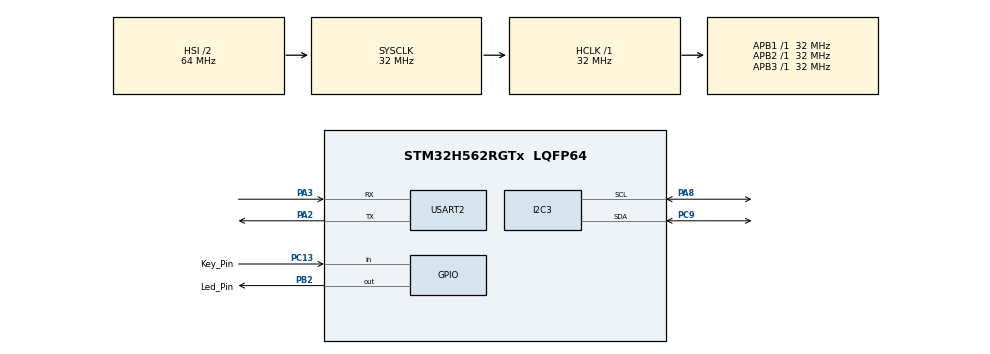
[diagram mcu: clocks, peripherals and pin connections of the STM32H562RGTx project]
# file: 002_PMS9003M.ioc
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BOOTPATH.BootPathName=LEGACY
BOOTPATH.UserSelectedBootPath=LEGACY
CORTEX_M33_NS.userName=CORTEX_M33
I2C3.Timing=0x00707CBB
Mcu.Family=STM32H5
Mcu.Name=STM32H562RGTx
Mcu.Package=LQFP64
NVIC.PriorityGroup=NVIC_PRIORITYGROUP_4
NVIC.USART2_IRQn=true\:0\:0\:false\:false\:true\:true\:true\:true
PA2.Mode=Asynchronous
PA2.Signal=USART2_TX
PA3.Mode=Asynchronous
PA3.Signal=USART2_RX
PA8.Mode=I2C
PA8.Signal=I2C3_SCL
PB2.GPIO_Label=Led_Pin
PB2.Signal=GPIO_Output
PC13.GPIO_Label=Key_Pin
PC13.Signal=GPIO_Input
PC8.GPIO_Label=SD_Detect_Pin
PC8.Signal=SDMMC1_D0
PC9.Mode=I2C
PC9.Signal=I2C3_SDA
ProjectManager.HeapSize=0x200
ProjectManager.StackSize=0x400
ProjectManager.TargetToolchain=STM32CubeIDE
RCC.ADCFreq_Value=32000000
RCC.AHBFreq_Value=32000000
RCC.APB1Freq_Value=32000000
RCC.APB1TimFreq_Value=32000000
RCC.APB2Freq_Value=32000000
RCC.APB2TimFreq_Value=32000000
RCC.APB3Freq_Value=32000000
RCC.CSI_VALUE=4000000
RCC.CortexFreq_Value=32000000
RCC.EPOD_VALUE=4000000
RCC.HCLKFreq_Value=32000000
RCC.HSE_VALUE=25000000
RCC.HSI48_VALUE=48000000
RCC.HSI_VALUE=64000000
RCC.LSE_VALUE=32768
RCC.LSIRC_VALUE=32000
RCC.SYSCLKFreq_VALUE=32000000
RCC.USBFreq_Value=48000000
RCC.VCOOutputFreq_Value=516000000
USART2.VirtualMode-Asynchronous=VM_ASYNC
VP_BOOTPATH_VS_BOOTPATH.Mode=BP_Activate
VP_CORTEX_M33_NS_VS_Hclk.Mode=Hclk_Mode
VP_ICACHE_VS_ICACHE.Mode=DirectMappedCache
VP_MEMORYMAP_VS_MEMORYMAP.Mode=CurAppReg
VP_PWR_VS_LPOM.Mode=PowerOptimisation
VP_PWR_VS_SECSignals.Mode=Security/Privilege
board=custom

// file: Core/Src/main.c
/* USER CODE BEGIN Header */
/**
 ******************************************************************************
 * @file           : main.c
 * @brief          : Main program body
 ******************************************************************************
 * @attention
 *
 * Copyright (c) 2025 STMicroelectronics.
 * All rights reserved.
 *
 * This software is licensed under terms that can be found in the LICENSE file
 * in the root directory of this software component.
 * If no LICENSE file comes with this software, it is provided AS-IS.
 *
 ******************************************************************************
 */
/* USER CODE END Header */
#include "main.h"

/* USER CODE BEGIN Includes */
#include "dfrobot_air_quality_sensor.h"
#include <stdio.h>
#include <string.h>
/* USER CODE END Includes */

I2C_HandleTypeDef hi2c3;

UART_HandleTypeDef huart2;

/* USER CODE BEGIN PV */
DFRobot_AirQualitySensor_t air_sensor;
/* USER CODE END PV */

void SystemClock_Config(void);
static void MX_GPIO_Init(void);
static void MX_I2C3_Init(void);
static void MX_ICACHE_Init(void);
static void MX_USART2_UART_Init(void);
/* USER CODE BEGIN PFP */

void air_sensor_power_test(void);
void UART_Send(uint8_t *data, uint16_t length)
{
	HAL_UART_Transmit(&huart2, data, length, HAL_MAX_DELAY);
}

void UART_SendString(char *str)
{
	HAL_UART_Transmit(&huart2, (uint8_t *)str, strlen(str), HAL_MAX_DELAY);
}
/* USER CODE END PFP */

int main(void)
{

	/* MCU Configuration--------------------------------------------------------*/

	/* Reset of all peripherals, Initializes the Flash interface and the Systick. */
	HAL_Init();

	/* Configure the system clock */
	SystemClock_Config();

	/* Initialize all configured peripherals */
	MX_GPIO_Init();
	MX_I2C3_Init();
	MX_ICACHE_Init();
	MX_USART2_UART_Init();
	/* USER CODE BEGIN 2 */

	if (!DFRobot_AirSensor_Init(&air_sensor, &hi2c3,
								DFROBOT_AIR_SENSOR_DEFAULT_ADDR))
	{
		UART_SendString("failed to initialize the sensor\r\n");
		return 1;
	}

	if (!DFRobot_AirSensor_Begin(&air_sensor))
	{
		UART_SendString("failed to communicate with air quality sensor\r\n");
		return 1;
	}

	air_sensor_power_test();

	// get firmware version
	uint8_t version = DFRobot_AirSensor_GetVersion(&air_sensor);
	char version_buffer[50];
	sprintf(version_buffer, "Sensor firmware version: %d\r\n", version);
	UART_SendString(version_buffer);

	/* USER CODE END 2 */

	/* Infinite loop */
	/* USER CODE BEGIN WHILE */
	while (1)
	{
		UART_SendString("\r\n=== Air Quality Measurements ===\r\n");

		// read PM concentrations (µg/m³)
		uint16_t pm1_0_std = DFRobot_AirSensor_GetParticleConcentration_ugm3(
			&air_sensor, PARTICLE_PM1_0_STANDARD);
		uint16_t pm2_5_std = DFRobot_AirSensor_GetParticleConcentration_ugm3(
			&air_sensor, PARTICLE_PM2_5_STANDARD);
		uint16_t pm10_std = DFRobot_AirSensor_GetParticleConcentration_ugm3(
			&air_sensor, PARTICLE_PM10_STANDARD);

		uint16_t pm1_0_atm = DFRobot_AirSensor_GetParticleConcentration_ugm3(
			&air_sensor, PARTICLE_PM1_0_ATMOSPHERE);
		uint16_t pm2_5_atm = DFRobot_AirSensor_GetParticleConcentration_ugm3(
			&air_sensor, PARTICLE_PM2_5_ATMOSPHERE);
		uint16_t pm10_atm = DFRobot_AirSensor_GetParticleConcentration_ugm3(
			&air_sensor, PARTICLE_PM10_ATMOSPHERE);

		UART_SendString("PM Concentrations (µg/m³):\r\n");
		UART_SendString("  Standard conditions:\r\n");

		char pm_buffer[80];
		sprintf(pm_buffer, "    PM1.0: %d µg/m³\r\n", pm1_0_std);
		UART_SendString(pm_buffer);

		sprintf(pm_buffer, "    PM2.5: %d µg/m³\r\n", pm2_5_std);
		UART_SendString(pm_buffer);

		sprintf(pm_buffer, "    PM10:  %d µg/m³\r\n", pm10_std);
		UART_SendString(pm_buffer);

		UART_SendString("  Atmospheric conditions:\r\n");

		sprintf(pm_buffer, "    PM1.0: %d µg/m³\r\n", pm1_0_atm);
		UART_SendString(pm_buffer);

		sprintf(pm_buffer, "    PM2.5: %d µg/m³\r\n", pm2_5_atm);
		UART_SendString(pm_buffer);

		sprintf(pm_buffer, "    PM10:  %d µg/m³\r\n", pm10_atm);
		UART_SendString(pm_buffer);

		// read particle counts (per 0.1L air)
		uint16_t count_0_3 = DFRobot_AirSensor_GetParticleNum_Every0_1L(
			&air_sensor, PARTICLENUM_0_3_UM_EVERY0_1L_AIR);
		uint16_t count_0_5 = DFRobot_AirSensor_GetParticleNum_Every0_1L(
			&air_sensor, PARTICLENUM_0_5_UM_EVERY0_1L_AIR);
		uint16_t count_1_0 = DFRobot_AirSensor_GetParticleNum_Every0_1L(
			&air_sensor, PARTICLENUM_1_0_UM_EVERY0_1L_AIR);
		uint16_t count_2_5 = DFRobot_AirSensor_GetParticleNum_Every0_1L(
			&air_sensor, PARTICLENUM_2_5_UM_EVERY0_1L_AIR);
		uint16_t count_5_0 = DFRobot_AirSensor_GetParticleNum_Every0_1L(
			&air_sensor, PARTICLENUM_5_0_UM_EVERY0_1L_AIR);
		uint16_t count_10 = DFRobot_AirSensor_GetParticleNum_Every0_1L(
			&air_sensor, PARTICLENUM_10_UM_EVERY0_1L_AIR);

		UART_SendString("\r\nParticle Counts (per 0.1L air):\r\n");

		char count_buffer[80];
		sprintf(count_buffer, "  ≥0.3µm: %d particles\r\n", count_0_3);
		UART_SendString(count_buffer);

		sprintf(count_buffer, "  ≥0.5µm: %d particles\r\n", count_0_5);
		UART_SendString(count_buffer);

		sprintf(count_buffer, "  ≥1.0µm: %d particles\r\n", count_1_0);
		UART_SendString(count_buffer);

		sprintf(count_buffer, "  ≥2.5µm: %d particles\r\n", count_2_5);
		UART_SendString(count_buffer);

		sprintf(count_buffer, "  ≥5.0µm: %d particles\r\n", count_5_0);
		UART_SendString(count_buffer);

		sprintf(count_buffer, "  ≥10µm:  %d particles\r\n", count_10);
		UART_SendString(count_buffer);

		// delay 5seconds
		HAL_Delay(5000);
		/* USER CODE END WHILE */

	}
}

void SystemClock_Config(void)
{
	RCC_OscInitTypeDef RCC_OscInitStruct = {0};
	RCC_ClkInitTypeDef RCC_ClkInitStruct = {0};

	/** Configure the main internal regulator output voltage
	 */
	__HAL_PWR_VOLTAGESCALING_CONFIG(PWR_REGULATOR_VOLTAGE_SCALE3);

	while (!__HAL_PWR_GET_FLAG(PWR_FLAG_VOSRDY))
	{
	}

	/** Initializes the RCC Oscillators according to the specified parameters
	 * in the RCC_OscInitTypeDef structure.
	 */
	RCC_OscInitStruct.OscillatorType = RCC_OSCILLATORTYPE_HSI;
	RCC_OscInitStruct.HSIState = RCC_HSI_ON;
	RCC_OscInitStruct.HSIDiv = RCC_HSI_DIV2;
	RCC_OscInitStruct.HSICalibrationValue = RCC_HSICALIBRATION_DEFAULT;
	RCC_OscInitStruct.PLL.PLLState = RCC_PLL_NONE;
	if (HAL_RCC_OscConfig(&RCC_OscInitStruct) != HAL_OK)
	{
		Error_Handler();
	}

	/** Initializes the CPU, AHB and APB buses clocks
	 */
	RCC_ClkInitStruct.ClockType = RCC_CLOCKTYPE_HCLK | RCC_CLOCKTYPE_SYSCLK | RCC_CLOCKTYPE_PCLK1 | RCC_CLOCKTYPE_PCLK2 | RCC_CLOCKTYPE_PCLK3;
	RCC_ClkInitStruct.SYSCLKSource = RCC_SYSCLKSOURCE_HSI;
	RCC_ClkInitStruct.AHBCLKDivider = RCC_SYSCLK_DIV1;
	RCC_ClkInitStruct.APB1CLKDivider = RCC_HCLK_DIV1;
	RCC_ClkInitStruct.APB2CLKDivider = RCC_HCLK_DIV1;
	RCC_ClkInitStruct.APB3CLKDivider = RCC_HCLK_DIV1;

	if (HAL_RCC_ClockConfig(&RCC_ClkInitStruct, FLASH_LATENCY_1) != HAL_OK)
	{
		Error_Handler();
	}

	/** Configure the programming delay
	 */
	__HAL_FLASH_SET_PROGRAM_DELAY(FLASH_PROGRAMMING_DELAY_0);
}

static void MX_I2C3_Init(void)
{

	hi2c3.Instance = I2C3;
	hi2c3.Init.Timing = 0x00707CBB;
	hi2c3.Init.OwnAddress1 = 0;
	hi2c3.Init.AddressingMode = I2C_ADDRESSINGMODE_7BIT;
	hi2c3.Init.DualAddressMode = I2C_DUALADDRESS_DISABLE;
	hi2c3.Init.OwnAddress2 = 0;
	hi2c3.Init.OwnAddress2Masks = I2C_OA2_NOMASK;
	hi2c3.Init.GeneralCallMode = I2C_GENERALCALL_DISABLE;
	hi2c3.Init.NoStretchMode = I2C_NOSTRETCH_DISABLE;
	if (HAL_I2C_Init(&hi2c3) != HAL_OK)
	{
		Error_Handler();
	}

	/** Configure Analogue filter
	 */
	if (HAL_I2CEx_ConfigAnalogFilter(&hi2c3, I2C_ANALOGFILTER_ENABLE) != HAL_OK)
	{
		Error_Handler();
	}

	/** Configure Digital filter
	 */
	if (HAL_I2CEx_ConfigDigitalFilter(&hi2c3, 0) != HAL_OK)
	{
		Error_Handler();
	}
}

static void MX_ICACHE_Init(void)
{

	/** Enable instruction cache in 1-way (direct mapped cache)
	 */
	if (HAL_ICACHE_ConfigAssociativityMode(ICACHE_1WAY) != HAL_OK)
	{
		Error_Handler();
	}
	if (HAL_ICACHE_Enable() != HAL_OK)
	{
		Error_Handler();
	}
}

static void MX_USART2_UART_Init(void)
{

	huart2.Instance = USART2;
	huart2.Init.BaudRate = 115200;
	huart2.Init.WordLength = UART_WORDLENGTH_8B;
	huart2.Init.StopBits = UART_STOPBITS_1;
	huart2.Init.Parity = UART_PARITY_NONE;
	huart2.Init.Mode = UART_MODE_TX_RX;
	huart2.Init.HwFlowCtl = UART_HWCONTROL_NONE;
	huart2.Init.OverSampling = UART_OVERSAMPLING_16;
	huart2.Init.OneBitSampling = UART_ONE_BIT_SAMPLE_DISABLE;
	huart2.Init.ClockPrescaler = UART_PRESCALER_DIV1;
	huart2.AdvancedInit.AdvFeatureInit = UART_ADVFEATURE_NO_INIT;
	if (HAL_UART_Init(&huart2) != HAL_OK)
	{
		Error_Handler();
	}
	if (HAL_UARTEx_SetTxFifoThreshold(&huart2, UART_TXFIFO_THRESHOLD_1_8) != HAL_OK)
	{
		Error_Handler();
	}
	if (HAL_UARTEx_SetRxFifoThreshold(&huart2, UART_RXFIFO_THRESHOLD_1_8) != HAL_OK)
	{
		Error_Handler();
	}
	if (HAL_UARTEx_DisableFifoMode(&huart2) != HAL_OK)
	{
		Error_Handler();
	}
}

static void MX_GPIO_Init(void)
{
	GPIO_InitTypeDef GPIO_InitStruct = {0};

	/* GPIO Ports Clock Enable */
	__HAL_RCC_GPIOC_CLK_ENABLE();
	__HAL_RCC_GPIOA_CLK_ENABLE();
	__HAL_RCC_GPIOB_CLK_ENABLE();

	/*Configure GPIO pin Output Level */
	HAL_GPIO_WritePin(Led_Pin_GPIO_Port, Led_Pin_Pin, GPIO_PIN_RESET);

	/*Configure GPIO pin : Key_Pin_Pin */
	GPIO_InitStruct.Pin = Key_Pin_Pin;
	GPIO_InitStruct.Mode = GPIO_MODE_INPUT;
	GPIO_InitStruct.Pull = GPIO_NOPULL;
	HAL_GPIO_Init(Key_Pin_GPIO_Port, &GPIO_InitStruct);

	/*Configure GPIO pin : Led_Pin_Pin */
	GPIO_InitStruct.Pin = Led_Pin_Pin;
	GPIO_InitStruct.Mode = GPIO_MODE_OUTPUT_PP;
	GPIO_InitStruct.Pull = GPIO_NOPULL;
	GPIO_InitStruct.Speed = GPIO_SPEED_FREQ_LOW;
	HAL_GPIO_Init(Led_Pin_GPIO_Port, &GPIO_InitStruct);

	/*Configure GPIO pin : SD_Detect_Pin_Pin */
	GPIO_InitStruct.Pin = SD_Detect_Pin_Pin;
	GPIO_InitStruct.Mode = GPIO_MODE_AF_PP;
	GPIO_InitStruct.Pull = GPIO_NOPULL;
	GPIO_InitStruct.Speed = GPIO_SPEED_FREQ_HIGH;
	GPIO_InitStruct.Alternate = GPIO_AF12_SDMMC1;
	HAL_GPIO_Init(SD_Detect_Pin_GPIO_Port, &GPIO_InitStruct);

}

/* USER CODE BEGIN 4 */
void air_sensor_power_test(void)
{
	printf("\r\n=== Power Management Test ===\r\n");

	// put sensor to sleep
	if (DFRobot_AirSensor_SetLowPower(&air_sensor))
	{
		printf("Sensor set to low power mode\r\n");
	}

	HAL_Delay(3000);

	// wake up sensor
	if (DFRobot_AirSensor_Awake(&air_sensor))
	{
		printf("Sensor awakened from low power mode\r\n");
	}

	// allow time for sensor to stabilize after wake-up
	HAL_Delay(2000);
}
/* USER CODE END 4 */

void Error_Handler(void)
{
	__disable_irq();
	while (1)
	{
	}
}
